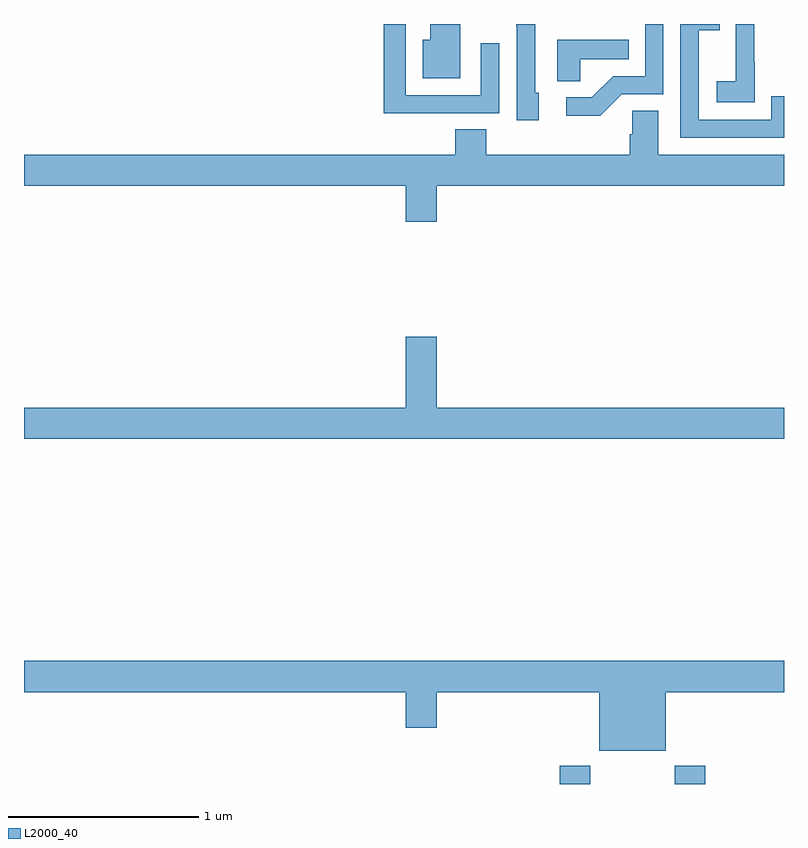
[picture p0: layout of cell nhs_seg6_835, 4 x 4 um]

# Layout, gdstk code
import gdstk
lib = gdstk.Library(unit=1e-6, precision=1e-09)
def R(c, l, rs):  # rectangles x0, y0, x1, y1
    for r in rs: c.add(gdstk.rectangle(r[:2], r[2:], *l))
def P(c, l, *ps):  # polygons
    for p in ps: c.add(gdstk.Polygon(p, *l))
L2000_40 = (2000, 40)

nhs_seg6_835 = lib.new_cell('nhs_seg6_835')
R(nhs_seg6_835, L2000_40, [(165.821,965.5,165.981,965.596), (166.426,965.5,166.586,965.596)])
P(nhs_seg6_835, L2000_40, [(166.146,969.129),(166.365,969.129),(166.365,969.5),(166.269,969.5),(166.269,969.225),(166.1,969.225),(165.989,969.114),(165.855,969.114),(165.855,969.017),(166.033,969.017)],
  [(165.295,969.5),(165.137,969.5),(165.137,969.418),(165.098,969.418),(165.098,969.215),(165.295,969.215)],
  [(166.845,969.295),(166.844,969.295),(166.844,969.5),(166.746,969.5),(166.746,969.428),(166.745,969.428),(166.745,969.199),(166.647,969.199),(166.647,969.089),(166.845,969.089)],
  [(165.709,969.138),(165.69,969.138),(165.69,969.5),(165.592,969.5),(165.592,969.487),(165.594,969.487),(165.594,968.994),(165.709,968.994)],
  [(167,969.12),(166.932,969.12),(166.932,968.997),(166.551,968.997),(166.551,969.466),(166.661,969.466),(166.661,969.5),(166.455,969.5),(166.455,968.901),(167,968.901)],
  [(165.185,969.03),(165.501,969.03),(165.501,969.4),(165.405,969.4),(165.405,969.126),(165.009,969.126),(165.009,969.5),(164.893,969.5),(164.893,969.029),(165.185,969.029)],
  [(165.927,969.314),(166.184,969.314),(166.184,969.418),(165.806,969.418),(165.806,969.199),(165.927,969.199)],
  [(165.172,968.648),(167,968.648),(167,968.812),(166.339,968.812),(166.339,969.044),(166.2,969.044),(166.2,968.921),(166.187,968.921),(166.187,968.812),(165.434,968.812),(165.434,968.945),(165.269,968.945),(165.269,968.812),(163,968.812),(163,968.648),(165.008,968.648),(165.008,968.46),(165.172,968.46)],
  [(167,967.48),(165.172,967.48),(165.172,967.855),(165.008,967.855),(165.008,967.48),(163,967.48),(163,967.316),(167,967.316)],
  [(166.378,965.984),(167,965.984),(167,966.148),(163,966.148),(163,965.984),(165.008,965.984),(165.008,965.796),(165.172,965.796),(165.172,965.984),(166.028,965.984),(166.028,965.675),(166.378,965.675)])

lib.write_gds('nhs_seg6_835.gds')
